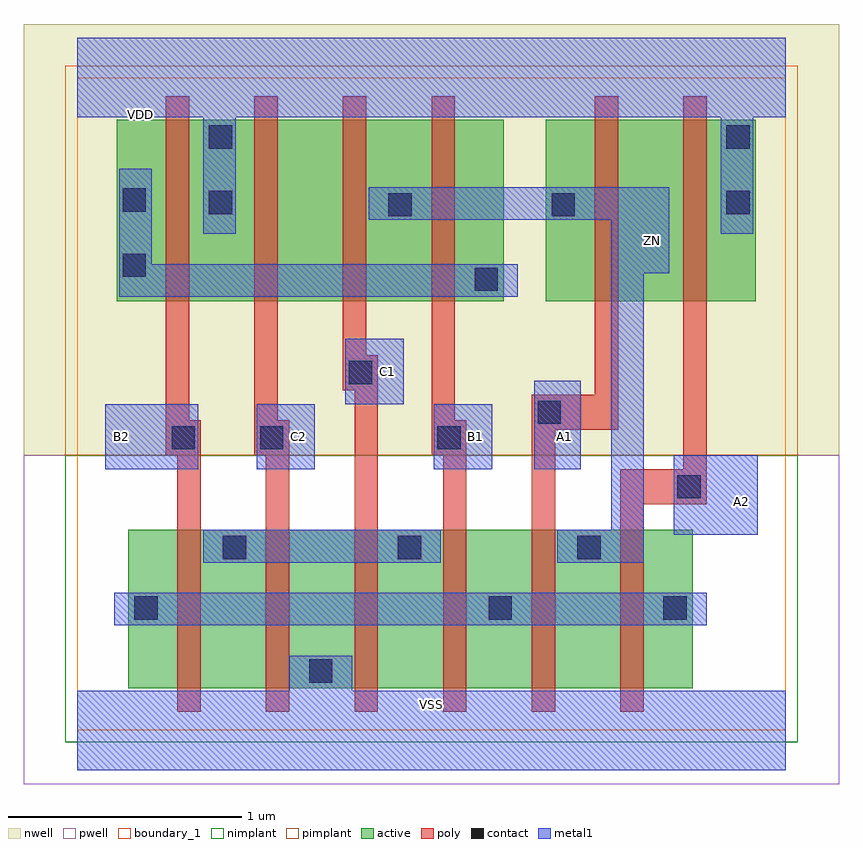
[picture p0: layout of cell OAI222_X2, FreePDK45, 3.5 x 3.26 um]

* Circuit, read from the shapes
.subckt OAI222_X2 A1 A2 B1 B2 C1 C2 VDD VSS ZN
M1 n1 B2 n2 VSUBS nfet w=0.68u l=0.1u
M2 VSS C2 n1 VSUBS nfet w=0.68u l=0.1u
M3 n1 C1 VSS VSUBS nfet w=0.68u l=0.1u
M4 n2 B1 n1 VSUBS nfet w=0.68u l=0.1u
M5 ZN A1 n2 VSUBS nfet w=0.68u l=0.1u
M6 n2 A2 ZN VSUBS nfet w=0.68u l=0.1u
M7 VDD B2 n3 n4 pfet w=0.78u l=0.1u
M8 n5 C2 VDD n4 pfet w=0.78u l=0.1u
M9 ZN C1 n5 n4 pfet w=0.78u l=0.1u
M10 n3 B1 ZN n4 pfet w=0.78u l=0.1u
M11 n6 A1 ZN n4 pfet w=0.78u l=0.1u
M12 VDD A2 n6 n4 pfet w=0.78u l=0.1u
.ends

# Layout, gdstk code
import gdstk
lib = gdstk.Library(unit=1e-6, precision=1e-09)
def R(c, l, rs):  # rectangles x0, y0, x1, y1
    for r in rs: c.add(gdstk.rectangle(r[:2], r[2:], *l))
def P(c, l, *ps):  # polygons
    for p in ps: c.add(gdstk.Polygon(p, *l))
active = (1, 0)
pwell = (2, 0)
nwell = (3, 0)
nimplant = (4, 0)
pimplant = (5, 0)
poly = (9, 0)
contact = (10, 0)
metal1 = (11, 0)
boundary_1 = (235, 1)

oai222_x2 = lib.new_cell('OAI222_X2')
R(oai222_x2, active, [(0.22,0.18,2.64,0.86), (0.17,1.84,1.83,2.62), (2.01,1.84,2.91,2.62)])
R(oai222_x2, pwell, [(-0.23,-0.23,3.27,1.18)])
R(oai222_x2, nwell, [(-0.23,1.18,3.27,3.03)])
R(oai222_x2, nimplant, [(-0.05,-0.05,3.09,1.18)])
R(oai222_x2, pimplant, [(-0.05,1.18,3.09,2.85)])
P(oai222_x2, poly, [(2.33,0.08),(2.43,0.08),(2.43,0.97),(2.7,0.97),(2.7,2.72),(2.6,2.72),(2.6,1.12),(2.33,1.12)],
  [(1.95,0.08),(2.05,0.08),(2.05,1.29),(2.32,1.29),(2.32,2.72),(2.22,2.72),(2.22,1.44),(1.95,1.44)],
  [(1.52,1.18),(1.57,1.18),(1.57,0.08),(1.67,0.08),(1.67,1.33),(1.62,1.33),(1.62,2.72),(1.52,2.72)],
  [(1.14,1.46),(1.19,1.46),(1.19,0.08),(1.29,0.08),(1.29,1.61),(1.24,1.61),(1.24,2.72),(1.14,2.72)],
  [(0.76,1.18),(0.81,1.18),(0.81,0.08),(0.91,0.08),(0.91,1.33),(0.86,1.33),(0.86,2.72),(0.76,2.72)],
  [(0.38,1.18),(0.43,1.18),(0.43,0.08),(0.53,0.08),(0.53,1.33),(0.48,1.33),(0.48,2.72),(0.38,2.72)])
R(oai222_x2, contact, [(0.995,0.205,1.095,0.305), (0.245,0.475,0.345,0.575), (1.765,0.475,1.865,0.575), (2.515,0.475,2.615,0.575), (0.625,0.735,0.725,0.835), (1.375,0.735,1.475,0.835), (2.145,0.735,2.245,0.835), (2.575,0.995,2.675,1.095), (0.405,1.205,0.505,1.305), (0.785,1.205,0.885,1.305), (1.545,1.205,1.645,1.305), (1.975,1.315,2.075,1.415), (1.165,1.485,1.265,1.585), (1.705,1.885,1.805,1.985), (0.195,1.945,0.295,2.045), (1.335,2.205,1.435,2.305), (2.035,2.205,2.135,2.305), (0.565,2.215,0.665,2.315), (2.785,2.215,2.885,2.315), (0.195,2.225,0.295,2.325), (0.565,2.495,0.665,2.595), (2.785,2.495,2.885,2.595)])
R(oai222_x2, metal1, [(0.16,0.45,2.7,0.59), (0.54,0.72,1.56,0.86), (2.56,0.84,2.92,1.18), (2.56,0.84,2.92,1.18), (0.12,1.12,0.52,1.4), (0.12,1.12,0.52,1.4), (0.77,1.12,1.02,1.4), (0.77,1.12,1.02,1.4), (1.53,1.12,1.78,1.4), (1.53,1.12,1.78,1.4), (1.96,1.12,2.16,1.5), (1.96,1.12,2.16,1.5), (1.15,1.4,1.4,1.68), (1.15,1.4,1.4,1.68)])
P(oai222_x2, metal1, [(0,-0.17),(3.04,-0.17),(3.04,0.17),(1.18,0.17),(1.18,0.32),(0.91,0.32),(0.91,0.17),(0,0.17)],
  [(1.25,2.19),(2.29,2.19),(2.29,0.86),(2.06,0.86),(2.06,0.72),(2.43,0.72),(2.43,1.96),(2.54,1.96),(2.54,2.33),(1.25,2.33)],
  [(0,2.63),(0.54,2.63),(0.54,2.13),(0.68,2.13),(0.68,2.63),(2.76,2.63),(2.76,2.13),(2.9,2.13),(2.9,2.63),(3.04,2.63),(3.04,2.97),(0,2.97)],
  [(0,2.63),(0.54,2.63),(0.54,2.13),(0.68,2.13),(0.68,2.63),(2.76,2.63),(2.76,2.13),(2.9,2.13),(2.9,2.63),(3.04,2.63),(3.04,2.97),(0,2.97)],
  [(0,-0.17),(3.04,-0.17),(3.04,0.17),(1.18,0.17),(1.18,0.32),(0.91,0.32),(0.91,0.17),(0,0.17)],
  [(1.25,2.19),(2.29,2.19),(2.29,0.86),(2.06,0.86),(2.06,0.72),(2.43,0.72),(2.43,1.96),(2.54,1.96),(2.54,2.33),(1.25,2.33)],
  [(0.18,1.86),(1.89,1.86),(1.89,2),(0.32,2),(0.32,2.41),(0.18,2.41)])
R(oai222_x2, boundary_1, [(0,0,3.04,2.8)])
oai222_x2.add(gdstk.Label('ZN', (2.47,2.1), layer=11, texttype=0))
oai222_x2.add(gdstk.Label('VSS', (1.52,0.11), layer=11, texttype=0))
oai222_x2.add(gdstk.Label('VDD', (0.27,2.64), layer=11, texttype=0))
oai222_x2.add(gdstk.Label('C2', (0.95,1.26), layer=11, texttype=0))
oai222_x2.add(gdstk.Label('C1', (1.33,1.54), layer=11, texttype=0))
oai222_x2.add(gdstk.Label('B2', (0.19,1.26), layer=11, texttype=0))
oai222_x2.add(gdstk.Label('B1', (1.71,1.26), layer=11, texttype=0))
oai222_x2.add(gdstk.Label('A2', (2.85,0.98), layer=11, texttype=0))
oai222_x2.add(gdstk.Label('A1', (2.09,1.26), layer=11, texttype=0))

lib.write_gds('OAI222_X2.gds')
